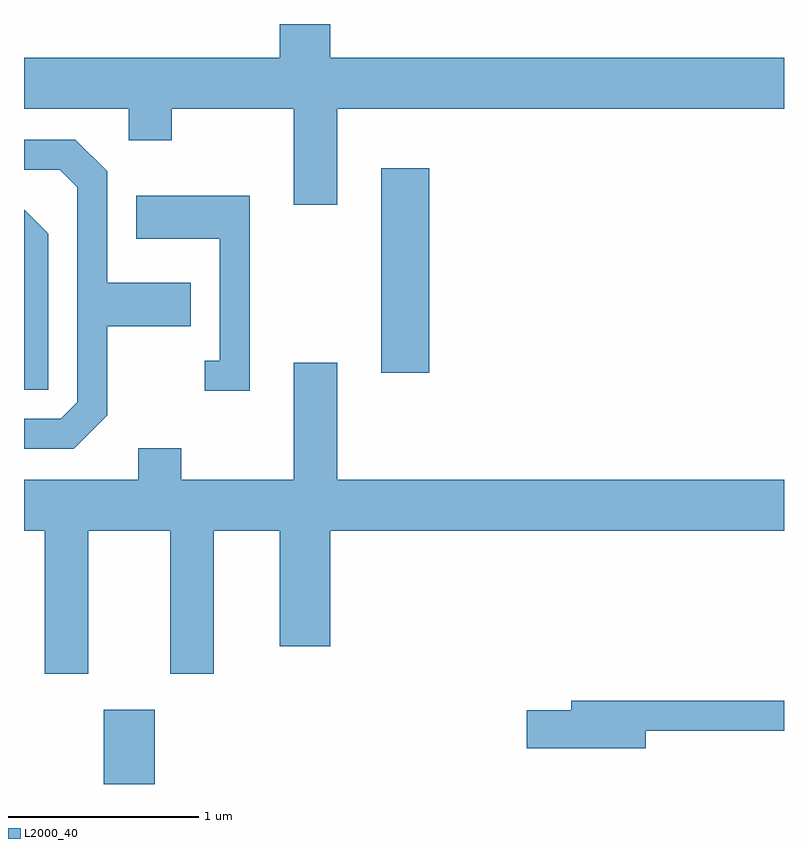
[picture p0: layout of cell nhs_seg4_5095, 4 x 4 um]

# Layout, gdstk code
import gdstk
lib = gdstk.Library(unit=1e-6, precision=1e-09)
def R(c, l, rs):  # rectangles x0, y0, x1, y1
    for r in rs: c.add(gdstk.rectangle(r[:2], r[2:], *l))
def P(c, l, *ps):  # polygons
    for p in ps: c.add(gdstk.Polygon(p, *l))
L2000_40 = (2000, 40)

nhs_seg4_5095 = lib.new_cell('nhs_seg4_5095')
R(nhs_seg4_5095, L2000_40, [(334.031,1379.982,334.299,1380.374), (335.491,1382.146,335.744,1383.224)])
P(nhs_seg4_5095, L2000_40, [(335.259,1383.536),(337.611,1383.536),(337.611,1383.804),(335.224,1383.804),(335.224,1383.982),(334.956,1383.982),(334.956,1383.804),(333.611,1383.804),(333.611,1383.536),(334.161,1383.536),(334.161,1383.371),(334.389,1383.371),(334.389,1383.536),(335.031,1383.536),(335.031,1383.031),(335.259,1383.031)],
  [(334.049,1381.924),(334.049,1382.391),(334.489,1382.391),(334.489,1382.619),(334.049,1382.619),(334.049,1383.207),(333.882,1383.374),(333.611,1383.374),(333.611,1383.216),(333.799,1383.216),(333.891,1383.124),(333.891,1381.992),(333.804,1381.904),(333.611,1381.904),(333.611,1381.746),(333.872,1381.746)],
  [(334.799,1383.079),(334.201,1383.079),(334.201,1382.851),(334.641,1382.851),(334.641,1382.209),(334.563,1382.209),(334.563,1382.051),(334.799,1382.051)],
  [(333.739,1382.877),(333.611,1383.005),(333.611,1382.056),(333.739,1382.056)],
  [(333.949,1381.316),(334.381,1381.316),(334.381,1380.561),(334.609,1380.561),(334.609,1381.316),(334.956,1381.316),(334.956,1380.706),(335.224,1380.706),(335.224,1381.316),(337.611,1381.316),(337.611,1381.584),(335.259,1381.584),(335.259,1382.199),(335.031,1382.199),(335.031,1381.584),(334.439,1381.584),(334.439,1381.749),(334.211,1381.749),(334.211,1381.584),(333.611,1381.584),(333.611,1381.316),(333.721,1381.316),(333.721,1380.561),(333.949,1380.561)],
  [(336.884,1380.261),(337.611,1380.261),(337.611,1380.419),(336.491,1380.419),(336.491,1380.369),(336.256,1380.369),(336.256,1380.171),(336.884,1380.171)])

lib.write_gds('nhs_seg4_5095.gds')
